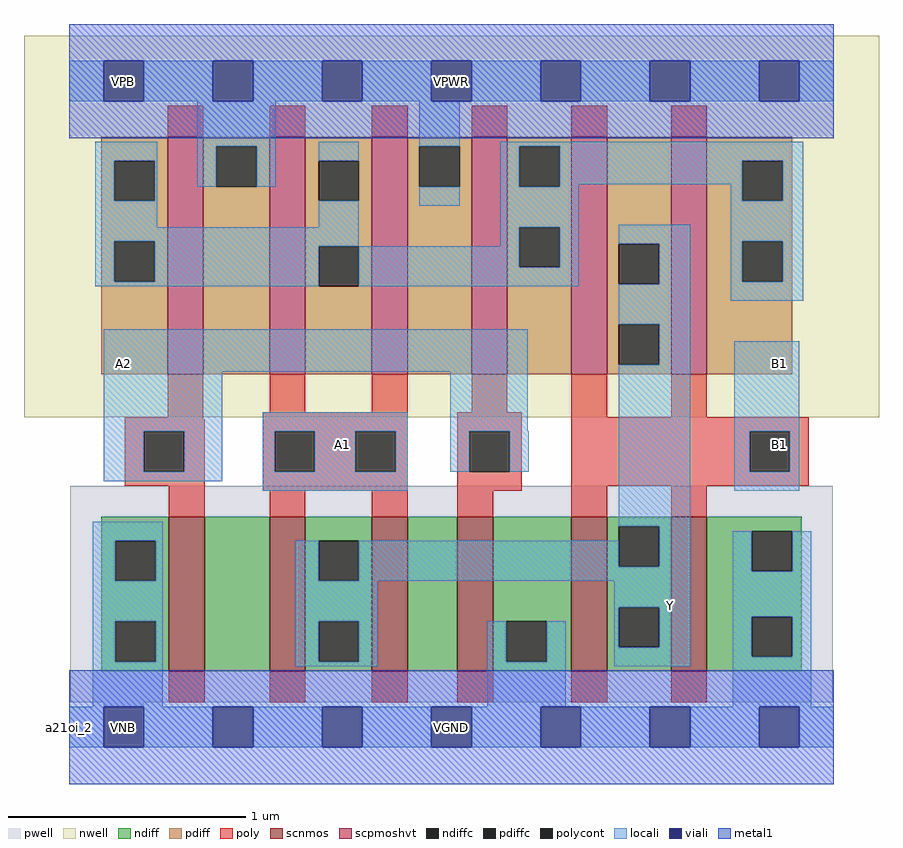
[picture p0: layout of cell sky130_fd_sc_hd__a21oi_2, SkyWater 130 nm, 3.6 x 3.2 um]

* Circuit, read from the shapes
.subckt sky130_fd_sc_hd__a21oi_2 A1 A2 B1 VGND VNB VPB VPWR Y
XM1 n1 A2 VGND VNB sky130_fd_pr__nfet_01v8 w=0.65 l=0.15
XM2 Y A1 n1 VNB sky130_fd_pr__nfet_01v8 w=0.65 l=0.15
XM3 n2 A1 Y VNB sky130_fd_pr__nfet_01v8 w=0.65 l=0.15
XM4 VGND A2 n2 VNB sky130_fd_pr__nfet_01v8 w=0.65 l=0.15
XM5 Y B1 VGND VNB sky130_fd_pr__nfet_01v8 w=0.65 l=0.15 m=2
XM6 VPWR A2 n3 VPB sky130_fd_pr__pfet_01v8_hvt w=1 l=0.15 m=2
XM7 n3 A1 VPWR VPB sky130_fd_pr__pfet_01v8_hvt w=1 l=0.15 m=2
XM8 Y B1 n3 VPB sky130_fd_pr__pfet_01v8_hvt w=1 l=0.15 m=2
.ends

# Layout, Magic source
magic
tech sky130A
magscale 1 2
<< nwell >>
rect -38 261 682 582
<< pwell >>
rect 1 21 643 203
rect 29 -17 63 21
<< scnmos >>
rect 84 47 114 177
rect 169 47 199 177
rect 255 47 285 177
rect 327 47 357 177
rect 423 47 453 177
rect 507 47 537 177
<< scpmoshvt >>
rect 83 297 113 497
rect 169 297 199 497
rect 255 297 285 497
rect 339 297 369 497
rect 423 297 453 497
rect 507 297 537 497
<< ndiff >>
rect 27 157 84 177
rect 27 123 39 157
rect 73 123 84 157
rect 27 89 84 123
rect 27 55 39 89
rect 73 55 84 89
rect 27 47 84 55
rect 114 47 169 177
rect 199 157 255 177
rect 199 123 210 157
rect 244 123 255 157
rect 199 89 255 123
rect 199 55 210 89
rect 244 55 255 89
rect 199 47 255 55
rect 285 47 327 177
rect 357 89 423 177
rect 357 55 368 89
rect 402 55 423 89
rect 357 47 423 55
rect 453 169 507 177
rect 453 135 463 169
rect 497 135 507 169
rect 453 101 507 135
rect 453 67 463 101
rect 497 67 507 101
rect 453 47 507 67
rect 537 165 617 177
rect 537 131 575 165
rect 609 131 617 165
rect 537 93 617 131
rect 537 59 575 93
rect 609 59 617 93
rect 537 47 617 59
<< pdiff >>
rect 27 477 83 497
rect 27 443 38 477
rect 72 443 83 477
rect 27 409 83 443
rect 27 375 38 409
rect 72 375 83 409
rect 27 297 83 375
rect 113 489 169 497
rect 113 455 124 489
rect 158 455 169 489
rect 113 297 169 455
rect 199 477 255 497
rect 199 443 210 477
rect 244 443 255 477
rect 199 405 255 443
rect 199 371 210 405
rect 244 371 255 405
rect 199 297 255 371
rect 285 489 339 497
rect 285 455 295 489
rect 329 455 339 489
rect 285 297 339 455
rect 369 489 423 497
rect 369 455 379 489
rect 413 455 423 489
rect 369 421 423 455
rect 369 387 379 421
rect 413 387 423 421
rect 369 297 423 387
rect 453 407 507 497
rect 453 373 463 407
rect 497 373 507 407
rect 453 339 507 373
rect 453 305 463 339
rect 497 305 507 339
rect 453 297 507 305
rect 537 477 609 497
rect 537 443 567 477
rect 601 443 609 477
rect 537 409 609 443
rect 537 375 567 409
rect 601 375 609 409
rect 537 297 609 375
<< ndiffc >>
rect 39 123 73 157
rect 39 55 73 89
rect 210 123 244 157
rect 210 55 244 89
rect 368 55 402 89
rect 463 135 497 169
rect 463 67 497 101
rect 575 131 609 165
rect 575 59 609 93
<< pdiffc >>
rect 38 443 72 477
rect 38 375 72 409
rect 124 455 158 489
rect 210 443 244 477
rect 210 371 244 405
rect 295 455 329 489
rect 379 455 413 489
rect 379 387 413 421
rect 463 373 497 407
rect 463 305 497 339
rect 567 443 601 477
rect 567 375 601 409
<< poly >>
rect 83 497 113 523
rect 169 497 199 523
rect 255 497 285 523
rect 339 497 369 523
rect 423 497 453 523
rect 507 497 537 523
rect 83 261 113 297
rect 169 265 199 297
rect 255 265 285 297
rect 339 265 369 297
rect 47 259 113 261
rect 47 249 114 259
rect 47 215 63 249
rect 97 215 114 249
rect 47 203 114 215
rect 84 177 114 203
rect 163 249 285 265
rect 163 215 173 249
rect 207 215 241 249
rect 275 215 285 249
rect 163 199 285 215
rect 169 177 199 199
rect 255 177 285 199
rect 327 249 381 265
rect 327 215 337 249
rect 371 215 381 249
rect 327 199 381 215
rect 423 261 453 297
rect 507 261 537 297
rect 423 249 623 261
rect 423 215 573 249
rect 607 215 623 249
rect 423 203 623 215
rect 327 177 357 199
rect 423 177 453 203
rect 507 177 537 203
rect 84 21 114 47
rect 169 21 199 47
rect 255 21 285 47
rect 327 21 357 47
rect 423 21 453 47
rect 507 21 537 47
<< polycont >>
rect 63 215 97 249
rect 173 215 207 249
rect 241 215 275 249
rect 337 215 371 249
rect 573 215 607 249
<< locali >>
rect 0 527 29 561
rect 63 527 121 561
rect 155 527 213 561
rect 247 527 305 561
rect 339 527 397 561
rect 431 527 489 561
rect 523 527 581 561
rect 615 527 644 561
rect 22 477 74 493
rect 22 443 38 477
rect 72 443 74 477
rect 108 489 174 527
rect 108 455 124 489
rect 158 455 174 489
rect 210 477 244 493
rect 22 421 74 443
rect 210 421 244 443
rect 295 489 329 527
rect 295 439 329 455
rect 363 489 618 493
rect 363 455 379 489
rect 413 477 618 489
rect 413 457 567 477
rect 413 455 429 457
rect 22 409 244 421
rect 22 375 38 409
rect 72 405 244 409
rect 363 421 429 455
rect 557 443 567 457
rect 601 443 618 477
rect 363 405 379 421
rect 72 375 210 405
rect 22 371 210 375
rect 244 387 379 405
rect 413 387 429 421
rect 244 371 429 387
rect 463 407 523 423
rect 497 373 523 407
rect 463 339 523 373
rect 557 409 618 443
rect 557 375 567 409
rect 601 375 618 409
rect 557 359 618 375
rect 29 299 386 335
rect 29 249 129 299
rect 29 215 63 249
rect 97 215 129 249
rect 29 207 129 215
rect 163 249 285 265
rect 163 215 173 249
rect 207 215 241 249
rect 275 215 285 249
rect 321 249 386 299
rect 497 305 523 339
rect 321 215 337 249
rect 371 215 387 249
rect 163 199 285 215
rect 20 157 79 173
rect 463 169 523 305
rect 560 249 615 325
rect 560 215 573 249
rect 607 215 615 249
rect 560 199 615 215
rect 20 123 39 157
rect 73 123 79 157
rect 20 89 79 123
rect 20 55 39 89
rect 73 55 79 89
rect 20 17 79 55
rect 191 123 210 157
rect 244 135 463 157
rect 497 135 523 169
rect 244 123 523 135
rect 191 89 260 123
rect 459 101 523 123
rect 191 55 210 89
rect 244 55 260 89
rect 191 51 260 55
rect 352 55 368 89
rect 402 55 418 89
rect 352 17 418 55
rect 459 67 463 101
rect 497 67 523 101
rect 459 51 523 67
rect 559 131 575 165
rect 609 131 625 165
rect 559 93 625 131
rect 559 59 575 93
rect 609 59 625 93
rect 559 17 625 59
rect 0 -17 29 17
rect 63 -17 121 17
rect 155 -17 213 17
rect 247 -17 305 17
rect 339 -17 397 17
rect 431 -17 489 17
rect 523 -17 581 17
rect 615 -17 644 17
<< viali >>
rect 29 527 63 561
rect 121 527 155 561
rect 213 527 247 561
rect 305 527 339 561
rect 397 527 431 561
rect 489 527 523 561
rect 581 527 615 561
rect 29 -17 63 17
rect 121 -17 155 17
rect 213 -17 247 17
rect 305 -17 339 17
rect 397 -17 431 17
rect 489 -17 523 17
rect 581 -17 615 17
<< metal1 >>
rect 0 561 644 592
rect 0 527 29 561
rect 63 527 121 561
rect 155 527 213 561
rect 247 527 305 561
rect 339 527 397 561
rect 431 527 489 561
rect 523 527 581 561
rect 615 527 644 561
rect 0 496 644 527
rect 0 17 644 48
rect 0 -17 29 17
rect 63 -17 121 17
rect 155 -17 213 17
rect 247 -17 305 17
rect 339 -17 397 17
rect 431 -17 489 17
rect 523 -17 581 17
rect 615 -17 644 17
rect 0 -48 644 -17
<< labels >>
flabel locali s 581 221 615 255 0 FreeSans 340 0 0 0 B1
port 3 nsew signal input
flabel locali s 581 289 615 323 0 FreeSans 340 0 0 0 B1
port 3 nsew signal input
flabel locali s 29 289 63 323 0 FreeSans 340 180 0 0 A2
port 2 nsew signal input
flabel locali s 213 221 247 255 0 FreeSans 340 180 0 0 A1
port 1 nsew signal input
flabel locali s 489 85 523 119 0 FreeSans 340 180 0 0 Y
port 8 nsew signal output
flabel pwell s 29 -17 63 17 0 FreeSans 200 0 0 0 VNB
port 5 nsew ground bidirectional
flabel nwell s 29 527 63 561 0 FreeSans 200 0 0 0 VPB
port 6 nsew power bidirectional
flabel metal1 s 29 -17 63 17 0 FreeSans 200 0 0 0 VGND
port 4 nsew ground bidirectional abutment
flabel metal1 s 29 527 63 561 0 FreeSans 200 0 0 0 VPWR
port 7 nsew power bidirectional abutment
rlabel comment s 0 0 0 0 4 a21oi_2
rlabel metal1 s 0 -48 644 48 1 VGND
port 4 nsew ground bidirectional abutment
rlabel metal1 s 0 496 644 592 1 VPWR
port 7 nsew power bidirectional abutment
<< properties >>
string FIXED_BBOX 0 0 644 544
string GDS_END 4043320
string GDS_FILE $PDKPATH/libs.ref/sky130_fd_sc_hd/gds/sky130_fd_sc_hd.gds
string GDS_START 4037456
string LEFclass CORE
string LEFsite unithd
string LEFsymmetry X Y R90
string path 0.000 0.000 16.100 0.000 
<< end >>
